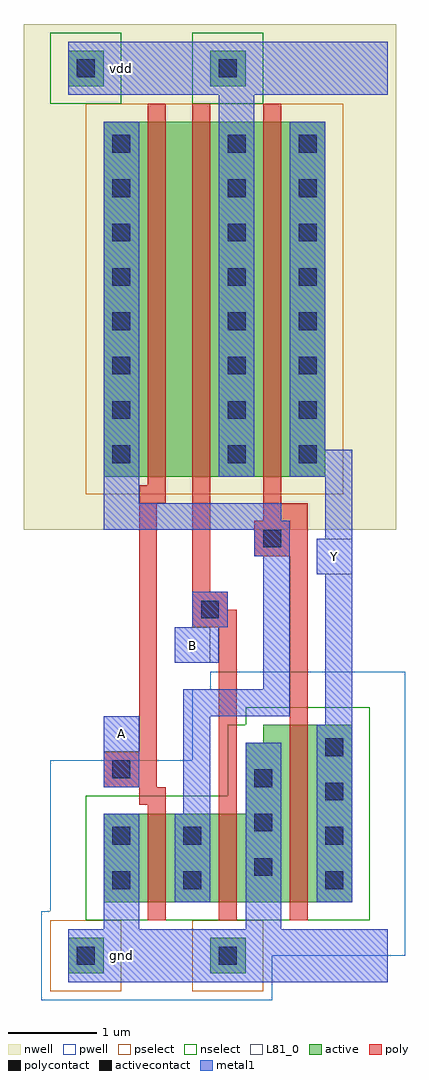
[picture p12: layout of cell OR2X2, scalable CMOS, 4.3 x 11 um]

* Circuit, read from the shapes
.subckt OR2X2 A B Y gnd vdd
M1 n1 A gnd gnd nfet w=1u l=0.2u
M2 gnd B n1 gnd nfet w=1u l=0.2u
M3 Y n1 gnd gnd nfet w=2u l=0.2u
M4 n2 A n1 vdd pfet w=4u l=0.2u
M5 vdd B n2 vdd pfet w=4u l=0.2u
M6 Y n1 vdd vdd pfet w=4u l=0.2u
.ends

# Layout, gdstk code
import gdstk
lib = gdstk.Library(unit=1e-6, precision=1e-09)
def R(c, l, rs):  # rectangles x0, y0, x1, y1
    for r in rs: c.add(gdstk.rectangle(r[:2], r[2:], *l))
def A(c, l, x, y, w, h, nx, ny, dx, dy):  # array of equal rectangles
    R(c, l, [(x+i*dx, y+j*dy, x+i*dx+w, y+j*dy+h) for i in range(nx) for j in range(ny)])
pwell = (41, 0)
nwell = (42, 0)
active = (43, 0)
pselect = (44, 0)
nselect = (45, 0)
poly = (46, 0)
polycontact = (47, 0)
activecontact = (48, 0)
metal1 = (49, 0)
L81_0 = (81, 0)

or2x2 = lib.new_cell('OR2X2')
R(or2x2, pwell, [(-0.5,-0.5,2.1,0), (-0.5,0,3.6,0.5), (-0.4,0.5,3.6,2.2), (1.2,2.2,3.6,3), (1.4,3,3.6,3.2)])
R(or2x2, nwell, [(-0.7,4.8,3.5,10.5)])
R(or2x2, active, [(-0.2,-0.2,0.2,0.2), (1.4,-0.2,1.8,0.2), (0.2,0.6,3,1.6), (1.8,1.6,3,2.4), (2,2.4,3,2.6), (0.2,5.4,2.7,9.4), (-0.2,9.8,0.2,10.2), (1.4,9.8,1.8,10.2)])
R(or2x2, pselect, [(-0.4,-0.4,0.4,0.4), (1.2,-0.4,2,0.4), (0,5.2,2.9,9.6)])
R(or2x2, nselect, [(0,0.4,3.2,1.8), (1.6,1.8,3.2,2.6), (1.8,2.6,3.2,2.8), (-0.4,9.6,0.4,10.4), (1.2,9.6,2,10.4)])
R(or2x2, poly, [(0.7,0.4,0.9,1.7), (1.5,0.4,1.7,3.7), (2.3,0.4,2.5,4.5), (0.6,1.7,0.9,1.9), (0.2,1.9,0.8,2.3), (0.6,2.3,0.8,5.1), (1.2,3.7,1.7,3.9), (1.2,3.9,1.6,4.1), (1.2,4.1,1.4,9.6), (1.9,4.5,2.5,4.9), (2,4.9,2.5,5.1), (0.6,5.1,0.9,5.3), (2,5.1,2.2,9.6), (0.7,5.3,0.9,9.6)])
R(or2x2, polycontact, [(0.3,2,0.5,2.2), (1.3,3.8,1.5,4), (2,4.6,2.2,4.8)])
A(or2x2, activecontact, 2.7, 0.75, 0.2, 0.2, 1, 4, 0, 0.5)
A(or2x2, activecontact, 1.9, 0.9, 0.2, 0.2, 1, 3, 0, 0.5)
A(or2x2, activecontact, 0.3, 5.55, 0.2, 0.2, 1, 8, 0, 0.5)
A(or2x2, activecontact, 1.6, 5.55, 0.2, 0.2, 1, 8, 0, 0.5)
A(or2x2, activecontact, 2.4, 5.55, 0.2, 0.2, 1, 8, 0, 0.5)
R(or2x2, activecontact, [(-0.1,-0.1,0.1,0.1), (1.5,-0.1,1.7,0.1), (0.3,0.75,0.5,0.95), (1.1,0.75,1.3,0.95), (0.3,1.25,0.5,1.45), (1.1,1.25,1.3,1.45), (-0.1,9.9,0.1,10.1), (1.5,9.9,1.7,10.1)])
R(or2x2, metal1, [(-0.2,-0.3,3.4,0.3), (0.2,0.3,0.6,1.6), (1.8,0.3,2.2,2.4), (1,0.6,1.4,1.6), (2.6,0.6,3,2.6), (1.1,1.6,1.4,2.7), (0.2,1.9,0.6,2.7), (2.7,2.6,3,4.3), (1.1,2.7,2.3,3), (2,3,2.3,4.5), (1,3.3,1.5,3.7), (1.2,3.7,1.6,4.1), (2.6,4.3,3,4.7), (1.9,4.5,2.3,4.8), (2.7,4.7,3,5.4), (0.2,4.8,2.3,4.9), (0.2,4.9,2.2,5.1), (0.2,5.1,0.6,9.4), (1.5,5.4,1.9,9.7), (2.3,5.4,3,5.7), (2.3,5.7,2.7,9.4), (-0.2,9.7,3.4,10.3)])
R(or2x2, L81_0, [(0.2,2.3,0.6,2.7), (1,3.3,1.4,3.7), (2.6,4.3,3,4.7)])
or2x2.add(gdstk.Label('Y', (2.8,4.5), layer=49, texttype=0))
or2x2.add(gdstk.Label('B', (1.2,3.5), layer=49, texttype=0))
or2x2.add(gdstk.Label('vdd', (0.4,10), layer=49, texttype=0))
or2x2.add(gdstk.Label('gnd', (0.4,0), layer=49, texttype=0))
or2x2.add(gdstk.Label('A', (0.4,2.5), layer=49, texttype=0))

lib.write_gds('OR2X2.gds')
